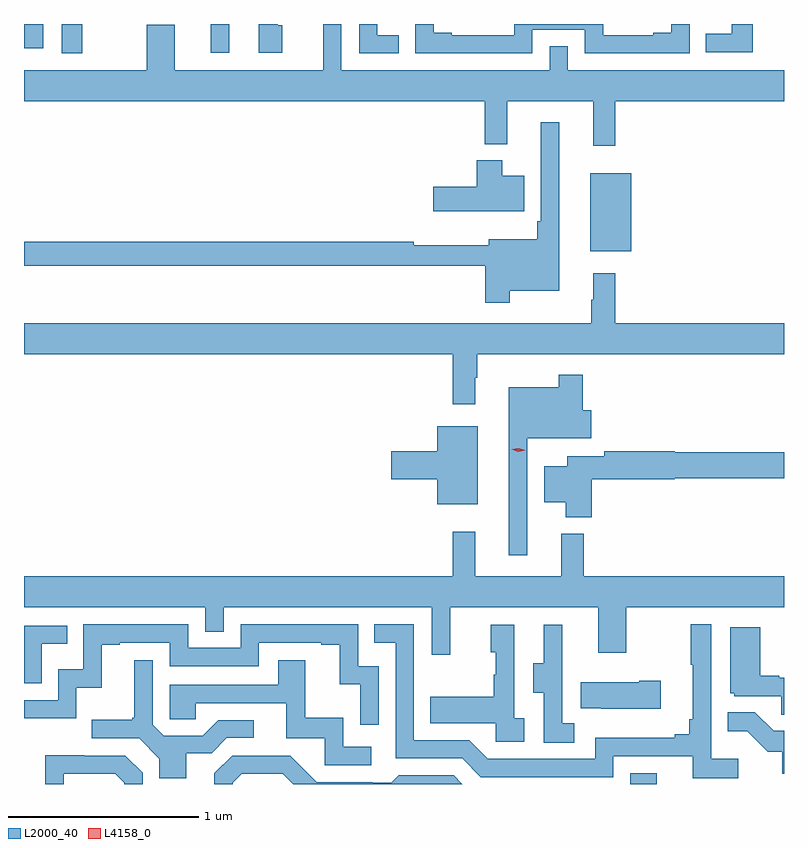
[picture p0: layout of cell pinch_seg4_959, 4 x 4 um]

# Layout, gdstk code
import gdstk
lib = gdstk.Library(unit=1e-6, precision=1e-09)
def R(c, l, rs):  # rectangles x0, y0, x1, y1
    for r in rs: c.add(gdstk.rectangle(r[:2], r[2:], *l))
def P(c, l, *ps):  # polygons
    for p in ps: c.add(gdstk.Polygon(p, *l))
L2000_40 = (2000, 40)
L4158_0 = (4158, 0)

pinch_seg4_959 = lib.new_cell('pinch_seg4_959')
R(pinch_seg4_959, L2000_40, [(879.882,775.911,880.021,775.968), (879.671,778.715,879.886,779.125), (876.888,779.757,876.997,779.911), (877.673,779.76,877.771,779.911), (876.69,779.784,876.79,779.911)])
P(pinch_seg4_959, L2000_40, [(879.366,779.88),(879.642,779.88),(879.642,779.757),(880.194,779.757),(880.194,779.911),(880.097,779.911),(880.097,779.866),(880.001,779.866),(880.001,779.853),(879.738,779.853),(879.738,779.911),(879.27,779.911),(879.27,779.853),(878.941,779.853),(878.941,779.866),(878.846,779.866),(878.846,779.911),(878.748,779.911),(878.748,779.757),(879.366,779.757)],
  [(879.803,779.504),(880.69,779.504),(880.69,779.668),(879.552,779.668),(879.552,779.795),(879.456,779.795),(879.456,779.668),(878.361,779.668),(878.361,779.911),(878.264,779.911),(878.264,779.668),(877.483,779.668),(877.483,779.908),(877.336,779.908),(877.336,779.668),(876.69,779.668),(876.69,779.504),(879.115,779.504),(879.115,779.279),(879.233,779.279),(879.233,779.504),(879.686,779.504),(879.686,779.271),(879.803,779.271)],
  [(880.525,779.911),(880.414,779.911),(880.414,779.86),(880.279,779.86),(880.279,779.763),(880.525,779.763)],
  [(878.05,779.904),(878.025,779.904),(878.025,779.911),(877.926,779.911),(877.926,779.76),(878.05,779.76)],
  [(878.663,779.853),(878.55,779.853),(878.55,779.911),(878.454,779.911),(878.454,779.757),(878.663,779.757)],
  [(879.247,778.508),(879.508,778.508),(879.508,779.395),(879.411,779.395),(879.411,778.873),(879.391,778.873),(879.391,778.777),(879.137,778.777),(879.137,778.747),(878.741,778.747),(878.741,778.766),(876.69,778.766),(876.69,778.638),(879.118,778.638),(879.118,778.443),(879.247,778.443)],
  [(879.322,779.113),(879.208,779.113),(879.208,779.194),(879.074,779.194),(879.074,779.055),(878.844,779.055),(878.844,778.925),(879.322,778.925)],
  [(879.064,778.049),(879.076,778.049),(879.076,778.172),(880.69,778.172),(880.69,778.336),(879.803,778.336),(879.803,778.6),(879.686,778.6),(879.686,778.46),(879.675,778.46),(879.675,778.336),(876.69,778.336),(876.69,778.172),(878.947,778.172),(878.947,777.909),(879.064,777.909)],
  [(879.339,777.731),(879.676,777.731),(879.676,777.879),(879.632,777.879),(879.632,778.066),(879.504,778.066),(879.504,778),(879.242,778),(879.242,777.114),(879.339,777.114)],
  [(879.079,777.793),(878.864,777.793),(878.864,777.662),(878.622,777.662),(878.622,777.515),(878.864,777.515),(878.864,777.383),(879.079,777.383)],
  [(879.677,777.515),(880.116,777.515),(880.116,777.52),(880.69,777.52),(880.69,777.656),(880.116,777.656),(880.116,777.662),(879.744,777.662),(879.744,777.637),(879.548,777.637),(879.548,777.583),(879.428,777.583),(879.428,777.395),(879.542,777.395),(879.542,777.314),(879.677,777.314)],
  [(878.933,776.84),(879.713,776.84),(879.713,776.601),(879.861,776.601),(879.861,776.84),(880.69,776.84),(880.69,777.004),(879.635,777.004),(879.635,777.229),(879.518,777.229),(879.518,777.004),(879.065,777.004),(879.065,777.238),(878.947,777.238),(878.947,777.004),(876.69,777.004),(876.69,776.84),(877.644,776.84),(877.644,776.713),(877.74,776.713),(877.74,776.84),(878.835,776.84),(878.835,776.592),(878.933,776.592)],
  [(880.45,776.044),(880.308,776.044),(880.308,776.752),(880.2,776.752),(880.2,776.539),(880.211,776.539),(880.211,776.251),(880.192,776.251),(880.192,776.174),(880.115,776.174),(880.115,776.155),(879.696,776.155),(879.696,776.043),(879.132,776.043),(879.033,776.142),(878.742,776.142),(878.742,776.751),(878.533,776.751),(878.533,776.655),(878.646,776.655),(878.646,776.046),(878.996,776.046),(879.095,775.947),(879.792,775.947),(879.792,776.058),(880.211,776.058),(880.211,775.942),(880.45,775.942)],
  [(878.556,776.532),(878.448,776.532),(878.448,776.751),(877.83,776.751),(877.83,776.628),(877.554,776.628),(877.554,776.751),(877.002,776.751),(877.002,776.515),(876.87,776.515),(876.87,776.352),(876.69,776.352),(876.69,776.256),(876.966,776.256),(876.966,776.417),(877.099,776.417),(877.099,776.643),(877.195,776.643),(877.195,776.655),(877.458,776.655),(877.458,776.532),(877.926,776.532),(877.926,776.655),(878.255,776.655),(878.255,776.643),(878.351,776.643),(878.351,776.435),(878.46,776.435),(878.46,776.223),(878.556,776.223)],
  [(879.322,776.258),(879.27,776.258),(879.27,776.749),(879.146,776.749),(879.146,776.604),(879.172,776.604),(879.172,776.486),(879.162,776.486),(879.162,776.371),(878.827,776.371),(878.827,776.231),(879.174,776.231),(879.174,776.133),(879.322,776.133)],
  [(879.586,776.231),(879.522,776.231),(879.522,776.535),(879.524,776.535),(879.524,776.749),(879.425,776.749),(879.425,776.547),(879.371,776.547),(879.371,776.392),(879.426,776.392),(879.426,776.128),(879.586,776.128)],
  [(876.783,776.648),(876.917,776.648),(876.917,776.745),(876.69,776.745),(876.69,776.442),(876.783,776.442)],
  [(880.69,776.469),(880.664,776.469),(880.664,776.482),(880.564,776.482),(880.564,776.737),(880.406,776.737),(880.406,776.388),(880.428,776.388),(880.428,776.373),(880.675,776.373),(880.675,776.275),(880.69,776.275)],
  [(878.518,776.106),(878.37,776.106),(878.37,776.26),(878.171,776.26),(878.171,776.563),(878.027,776.563),(878.027,776.433),(877.458,776.433),(877.458,776.253),(877.595,776.253),(877.595,776.337),(878.069,776.337),(878.069,776.151),(878.274,776.151),(878.274,776.01),(878.518,776.01)],
  [(877.543,776.074),(877.678,776.074),(877.758,776.154),(877.9,776.154),(877.9,776.247),(877.712,776.247),(877.631,776.166),(877.425,776.166),(877.368,776.223),(877.368,776.563),(877.271,776.563),(877.271,776.26),(877.26,776.26),(877.26,776.248),(877.047,776.248),(877.047,776.151),(877.296,776.151),(877.403,776.044),(877.403,775.942),(877.543,775.942)],
  [(880.042,776.454),(879.929,776.454),(879.929,776.446),(879.619,776.446),(879.619,776.309),(879.727,776.309),(879.727,776.306),(880.042,776.306)],
  [(880.69,776.19),(880.635,776.19),(880.537,776.288),(880.393,776.288),(880.393,776.189),(880.497,776.189),(880.604,776.082),(880.681,776.082),(880.681,775.965),(880.69,775.965)],
  [(876.9,775.965),(877.17,775.965),(877.218,775.917),(877.218,775.911),(877.314,775.911),(877.314,775.971),(877.224,776.061),(877.008,776.061),(877.008,776.063),(876.803,776.063),(876.803,775.911),(876.9,775.911)],
  [(877.788,775.917),(877.836,775.965),(878.052,775.965),(878.106,775.911),(878.997,775.911),(878.952,775.956),(878.663,775.956),(878.624,775.917),(878.525,775.917),(878.525,775.92),(878.232,775.92),(878.091,776.061),(877.785,776.061),(877.691,775.967),(877.691,775.911),(877.788,775.911)])
P(pinch_seg4_959, L4158_0, [(879.292,777.659),(879.258,777.672),(879.258,777.672),(879.258,777.672),(879.294,777.679),(879.328,777.667),(879.329,777.667),(879.328,777.667)])

lib.write_gds('pinch_seg4_959.gds')
